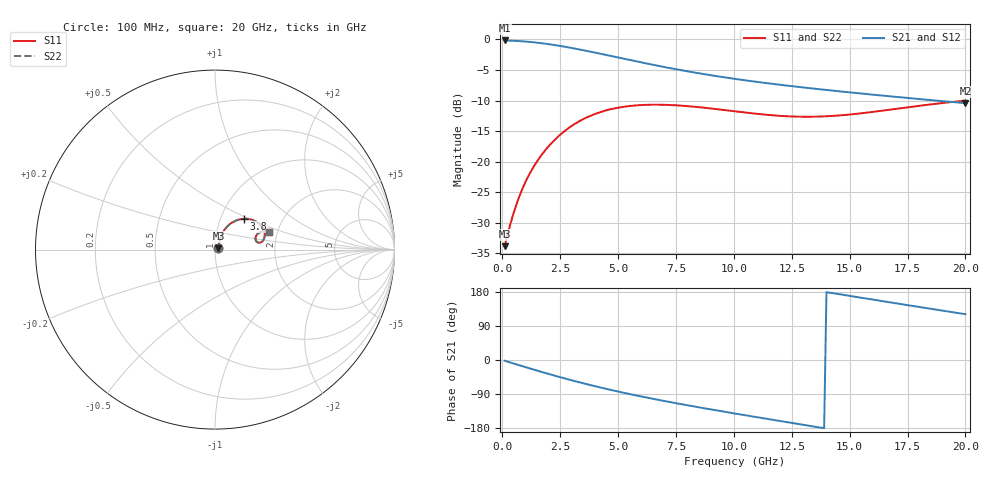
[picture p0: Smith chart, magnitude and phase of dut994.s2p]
! Touchstone file exported from HFSS 2024.1.0
!  File:  C:/UserFiles/LocalFiles/RDL_TSV_Batchsim/temp_RDL_TSV_994_1779976128.aedt
!  Generated:  10:07:49 PM May 28, 2026
!  Design:  RDL_TSV
!  Project:  temp_RDL_TSV_994_1779976128
!  Setup:  Setup1
!  Solution:  Sweep
! Variables:
!  dtsv = 5.19um
!  hbump = 3um
!  htsv = 88.69um
!  ldown = 476.06um
!  lrdl = 506.56um
!  p = 40
!  p1 = 50.32um
!  rhole = 10um
!  subl = 3454.42um
!  t = 450um
!  tdown = 4.23um
!  trdl = 4.71um
!  viad = 10um
!  wdown = 10.41um
!  wrdl = 29.82um
!  xbump = 18um
# GHz S MA R 50.000000
! Terminal data exported
! Port[1] = TM1_1_T1
! Port[2] = TM1_4_T1
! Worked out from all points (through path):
!   200 points, 100 MHz to 20 GHz, reference 50 ohm
!   highest |S21| = -0.17 dB at 100 MHz (marker M1); lowest = -10.4 dB at 20 GHz (marker M2)
!   group delay of S21, straight-line fit = 31.5 ps
!   lowest |S11| = -33.8 dB at 100 MHz (marker M3), VSWR 1.04, Z = 51.9 + j0.73 ohm
!   |S11| at or under -10 dB: start of sweep to end of sweep
!   |S22| runs from -33.8 to -10.1 dB; largest |S21 - S12| = 2e-14
!   S11 on the Smith chart (normalised r, x): 100 MHz: 1.04, +0.01; 3.8 GHz: 1.29, +0.47; 20 GHz: 1.80, +0.39
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0.1  0.02039 20.2  0.9808 -1.9  0.9808 -1.9  0.02039 20.2
! Gamma 0 0 0 0
! Port Impedance 50 0 50 0
0.4  0.03341 49.3  0.9764 -7.6  0.9764 -7.6  0.03342 49.2
0.7  0.04996 60.1  0.9701 -13.2  0.9701 -13.2  0.04996 60.1
1  0.06822 64.4  0.9613 -18.8  0.9613 -18.8  0.06821 64.3
1.4  0.09396 65.7  0.9456 -26.1  0.9456 -26.1  0.0939 65.6
1.9  0.1271 63.9  0.9206 -35.0  0.9206 -35.0  0.1269 63.8
2.4  0.1598 60.3  0.8909 -43.7  0.8909 -43.7  0.1596 60.2
2.9  0.1906 55.7  0.858 -52.0  0.858 -52.0  0.1902 55.6
3.5  0.2231 49.6  0.8162 -61.5  0.8162 -61.5  0.2226 49.5
3.8  0.2371 46.5  0.7949 -66.1  0.7949 -66.1  0.2365 46.4
4.5  0.2632 39.4  0.7457 -76.4  0.7457 -76.4  0.2625 39.3
5.3  0.2823 31.9  0.6922 -87.3  0.6922 -87.3  0.2814 31.8
6  0.2906 26.1  0.6491 -96.3  0.6491 -96.3  0.2897 26.0
6.8  0.2926 20.5  0.6049 -105.9  0.6049 -105.9  0.2916 20.3
8.3  0.2816 12.9  0.5361 -122.8  0.5361 -122.8  0.2805 12.7
10.1  0.2576 9.0  0.4741 -141.8  0.4741 -141.8  0.2566 8.9
11.7  0.2394 10.1  0.4324 -158.0  0.4324 -158.0  0.2383 10.0
13.4  0.2333 14.4  0.397 -175.0  0.397 -175.0  0.2322 14.3
15  0.2431 18.8  0.3691 169.2  0.3691 169.2  0.242 18.7
16.7  0.2657 21.1  0.3432 152.5  0.3432 152.5  0.2645 21.0
18.3  0.2911 20.6  0.3216 137.1  0.3216 137.1  0.2897 20.5
20  0.3157 18.1  0.3012 120.9  0.3012 120.9  0.3141 18.0
